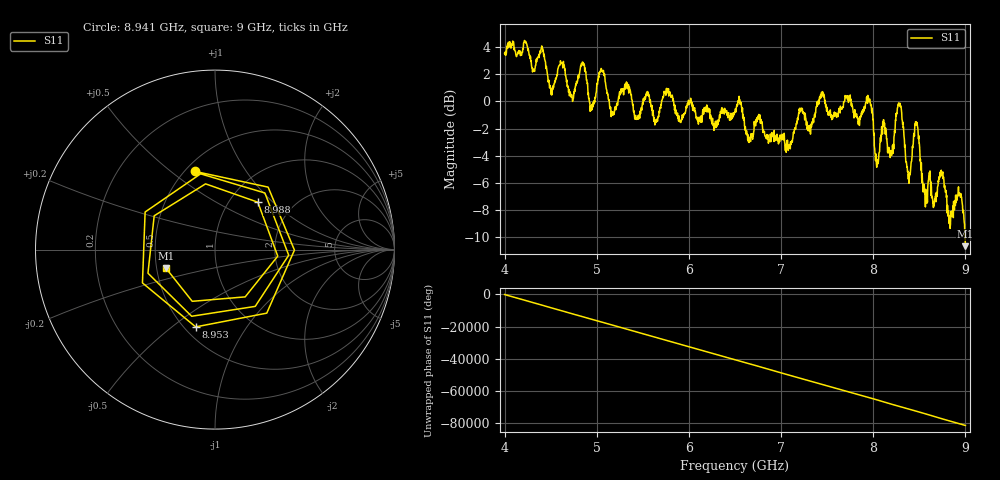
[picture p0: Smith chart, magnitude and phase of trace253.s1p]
! Created with skrf 1.8.0 (http://scikit-rf.org).
# Hz S RI R 50.0
!freq ReS11 ImS11
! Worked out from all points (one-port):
!   1601 points, 4 GHz to 9 GHz, reference 50 ohm
!   lowest |S11| = -10.7 dB at 9 GHz (marker M1), VSWR 1.82, Z = 28 - j6.39 ohm
!   |S11| at or under -10 dB: 8.9937 GHz to end of sweep
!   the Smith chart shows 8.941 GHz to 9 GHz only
!   S11 on the Smith chart (normalised r, x): 8.941 GHz: 0.56, +0.61; 8.953 GHz: 0.57, -0.61; 8.988 GHz: 1.34, +0.81; 9 GHz: 0.56, -0.13
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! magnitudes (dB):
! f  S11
! 4 GHz  3.6
! 4.406 GHz  4.0
! 4.509 GHz  0.9
! 4.625 GHz  2.8
! 4.725 GHz  0.5
! 4.847 GHz  2.9
! 4.941 GHz  -0.5
! 5.05 GHz  2.4
! 5.162 GHz  -1.0
! 5.25 GHz  0.7
! 5.875 GHz  -0.9
! 6.5 GHz  -0.8
! 7.125 GHz  -2.8
! 7.441 GHz  0.6
! 7.75 GHz  0.5
! 7.953 GHz  0.1
! 8.044 GHz  -4.3
! 8.116 GHz  -1.6
! 8.197 GHz  -3.9
! 8.288 GHz  -0.1
! 8.375 GHz  -5.2
! 8.469 GHz  -1.5
! 8.562 GHz  -6.6
! 8.834 GHz  -9.4
! 8.941 GHz  -6.9
! 8.953 GHz  -7.1
! 8.988 GHz  -9.0
! 9 GHz  -10.7
